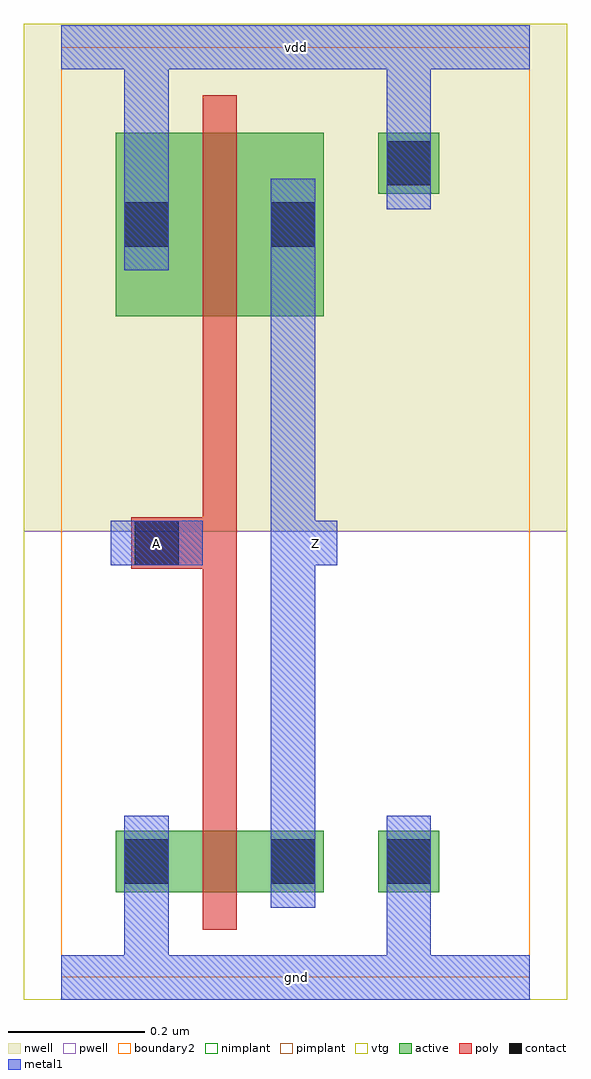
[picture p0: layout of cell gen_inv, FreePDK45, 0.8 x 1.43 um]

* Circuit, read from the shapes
.subckt gen_inv A Z gnd vdd
M1 Z A gnd gnd nfet w=0.09u l=0.05u
M2 Z A vdd vdd pfet w=0.27u l=0.05u
.ends

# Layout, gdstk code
import gdstk
lib = gdstk.Library(unit=1e-6, precision=5e-10)
def R(c, l, rs):  # rectangles x0, y0, x1, y1
    for r in rs: c.add(gdstk.rectangle(r[:2], r[2:], *l))
active = (1, 0)
pwell = (2, 0)
nwell = (3, 0)
nimplant = (4, 0)
pimplant = (5, 0)
vtg = (6, 0)
poly = (9, 0)
contact = (10, 0)
metal1 = (11, 0)
boundary2 = (239, 0)

sram_1rw_32x16_freepdk45 = lib.new_cell('sram_1rw_32x16_freepdk45_contact_11')
R(sram_1rw_32x16_freepdk45, active, [(0,0.0225,0.09,0.1125)])
R(sram_1rw_32x16_freepdk45, nwell, [(-0.055,-0.0325,0.145,0.1675)])
R(sram_1rw_32x16_freepdk45, pimplant, [(0,0.0225,0.09,0.1125)])
R(sram_1rw_32x16_freepdk45, contact, [(0.0125,0.035,0.0775,0.1)])
R(sram_1rw_32x16_freepdk45, metal1, [(0.0125,0,0.0775,0.135)])
R(sram_1rw_32x16_freepdk45, boundary2, [(-0.055,-0.0325,0.145,0.1675)])

c_sram_1rw_32x16_freepdk45 = lib.new_cell('sram_1rw_32x16_freepdk45_pmos_m1_w0_270_sm1_dm1_da_p')
R(c_sram_1rw_32x16_freepdk45, active, [(0,0,0.305,0.27)])
R(c_sram_1rw_32x16_freepdk45, nwell, [(-0.08,-0.08,0.385,0.35)])
R(c_sram_1rw_32x16_freepdk45, pimplant, [(0,0,0.305,0.27)])
R(c_sram_1rw_32x16_freepdk45, vtg, [(-0.08,-0.08,0.385,0.35)])
R(c_sram_1rw_32x16_freepdk45, poly, [(0.1275,-0.055,0.1775,0.325), (0.1275,-0.055,0.1775,0.325)])
R(c_sram_1rw_32x16_freepdk45, metal1, [(0.0125,0.0675,0.0775,0.2025), (0.2275,0.0675,0.2925,0.2025)])
R(c_sram_1rw_32x16_freepdk45, boundary2, [(-0.08,-0.08,0.385,0.35)])
c_sram_1rw_32x16_freepdk45.add(gdstk.Reference(sram_1rw_32x16_freepdk45, (0,0.0675)))
c_sram_1rw_32x16_freepdk45.add(gdstk.Reference(sram_1rw_32x16_freepdk45, (0.215,0.0675)))
c_sram_1rw_32x16_freepdk45.add(gdstk.Label('G', (0.1525,0.135), layer=9, texttype=0))
c_sram_1rw_32x16_freepdk45.add(gdstk.Label('S', (0.045,0.135), layer=11, texttype=0))
c_sram_1rw_32x16_freepdk45.add(gdstk.Label('D', (0.26,0.135), layer=11, texttype=0))

c_sram_1rw_32x16_freepdk45_ = lib.new_cell('sram_1rw_32x16_freepdk45_contact_10')
R(c_sram_1rw_32x16_freepdk45_, active, [(0,0.0225,0.09,0.1125)])
R(c_sram_1rw_32x16_freepdk45_, pwell, [(-0.055,-0.0325,0.145,0.1675)])
R(c_sram_1rw_32x16_freepdk45_, nimplant, [(0,0.0225,0.09,0.1125)])
R(c_sram_1rw_32x16_freepdk45_, contact, [(0.0125,0.035,0.0775,0.1)])
R(c_sram_1rw_32x16_freepdk45_, metal1, [(0.0125,0,0.0775,0.135)])
R(c_sram_1rw_32x16_freepdk45_, boundary2, [(-0.055,-0.0325,0.145,0.1675)])

c_sram_1rw_32x16_freepdk45__ = lib.new_cell('sram_1rw_32x16_freepdk45_nmos_m1_w0_090_sm1_dm1_da_p')
R(c_sram_1rw_32x16_freepdk45__, active, [(0,0,0.305,0.09)])
R(c_sram_1rw_32x16_freepdk45__, pwell, [(-0.08,-0.08,0.385,0.17)])
R(c_sram_1rw_32x16_freepdk45__, nimplant, [(0,0,0.305,0.09)])
R(c_sram_1rw_32x16_freepdk45__, vtg, [(-0.08,-0.08,0.385,0.17)])
R(c_sram_1rw_32x16_freepdk45__, poly, [(0.1275,-0.055,0.1775,0.145), (0.1275,-0.055,0.1775,0.145)])
R(c_sram_1rw_32x16_freepdk45__, metal1, [(0.0125,-0.0225,0.0775,0.1125), (0.2275,-0.0225,0.2925,0.1125)])
R(c_sram_1rw_32x16_freepdk45__, boundary2, [(-0.08,-0.08,0.385,0.17)])
c_sram_1rw_32x16_freepdk45__.add(gdstk.Reference(c_sram_1rw_32x16_freepdk45_, (0,-0.0225)))
c_sram_1rw_32x16_freepdk45__.add(gdstk.Reference(c_sram_1rw_32x16_freepdk45_, (0.215,-0.0225)))
c_sram_1rw_32x16_freepdk45__.add(gdstk.Label('G', (0.1525,0.045), layer=9, texttype=0))
c_sram_1rw_32x16_freepdk45__.add(gdstk.Label('S', (0.045,0.045), layer=11, texttype=0))
c_sram_1rw_32x16_freepdk45__.add(gdstk.Label('D', (0.26,0.045), layer=11, texttype=0))

c_sram_1rw_32x16_freepdk45___ = lib.new_cell('sram_1rw_32x16_freepdk45_contact_12')
R(c_sram_1rw_32x16_freepdk45___, active, [(0,0.0225,0.09,0.1125)])
R(c_sram_1rw_32x16_freepdk45___, nwell, [(-0.055,-0.0325,0.145,0.1675)])
R(c_sram_1rw_32x16_freepdk45___, nimplant, [(0,0.0225,0.09,0.1125)])
R(c_sram_1rw_32x16_freepdk45___, contact, [(0.0125,0.035,0.0775,0.1)])
R(c_sram_1rw_32x16_freepdk45___, metal1, [(0.0125,0,0.0775,0.135)])
R(c_sram_1rw_32x16_freepdk45___, boundary2, [(-0.055,-0.0325,0.145,0.1675)])

c_sram_1rw_32x16_freepdk45____ = lib.new_cell('sram_1rw_32x16_freepdk45_contact_13')
R(c_sram_1rw_32x16_freepdk45____, active, [(0,0.0225,0.09,0.1125)])
R(c_sram_1rw_32x16_freepdk45____, pwell, [(-0.055,-0.0325,0.145,0.1675)])
R(c_sram_1rw_32x16_freepdk45____, pimplant, [(0,0.0225,0.09,0.1125)])
R(c_sram_1rw_32x16_freepdk45____, contact, [(0.0125,0.035,0.0775,0.1)])
R(c_sram_1rw_32x16_freepdk45____, metal1, [(0.0125,0,0.0775,0.135)])
R(c_sram_1rw_32x16_freepdk45____, boundary2, [(-0.055,-0.0325,0.145,0.1675)])

c_sram_1rw_32x16_freepdk45_____ = lib.new_cell('sram_1rw_32x16_freepdk45_contact_14')
R(c_sram_1rw_32x16_freepdk45_____, poly, [(0.03,0,0.105,0.075)])
R(c_sram_1rw_32x16_freepdk45_____, contact, [(0.035,0.005,0.1,0.07)])
R(c_sram_1rw_32x16_freepdk45_____, metal1, [(0,0.005,0.135,0.07)])
R(c_sram_1rw_32x16_freepdk45_____, boundary2, [(0,0,0.135,0.075)])

gen_inv = lib.new_cell('gen_inv')
R(gen_inv, pwell, [(-0.055,-0.0325,0.7425,0.655)])
R(gen_inv, nwell, [(-0.055,0.655,0.7425,1.4)])
R(gen_inv, vtg, [(-0.055,-0.0325,0.7425,0.655), (-0.055,0.655,0.7425,1.4)])
R(gen_inv, poly, [(0.2075,0.27,0.2575,0.915), (0.14,0.6,0.2075,0.675)])
R(gen_inv, metal1, [(0,-0.0325,0.6875,0.0325), (0.0925,-0.0325,0.1575,0.1025), (0.4775,0,0.5425,0.17), (0.3075,0.1025,0.3725,1.1725), (0.0725,0.605,0.2075,0.67), (0.34,0.605,0.405,0.67), (0.0925,1.0375,0.1575,1.3975), (0.4775,1.195,0.5425,1.365), (0,1.3325,0.6875,1.3975)])
R(gen_inv, boundary2, [(0,0,0.6875,1.365), (0,0,0.6875,1.365)])
gen_inv.add(gdstk.Reference(c_sram_1rw_32x16_freepdk45, (0.08,0.97)))
gen_inv.add(gdstk.Reference(c_sram_1rw_32x16_freepdk45__, (0.08,0.125)))
gen_inv.add(gdstk.Reference(c_sram_1rw_32x16_freepdk45___, (0.465,1.1275)))
gen_inv.add(gdstk.Reference(c_sram_1rw_32x16_freepdk45____, (0.465,0.1025)))
gen_inv.add(gdstk.Reference(c_sram_1rw_32x16_freepdk45_____, (0.0725,0.6)))
gen_inv.add(gdstk.Label('A', (0.14,0.6375), layer=11, texttype=0))
gen_inv.add(gdstk.Label('Z', (0.3725,0.6375), layer=11, texttype=0))
gen_inv.add(gdstk.Label('gnd', (0.345,0), layer=11, texttype=0))
gen_inv.add(gdstk.Label('vdd', (0.345,1.365), layer=11, texttype=0))

lib.write_gds('gen_inv.gds')
